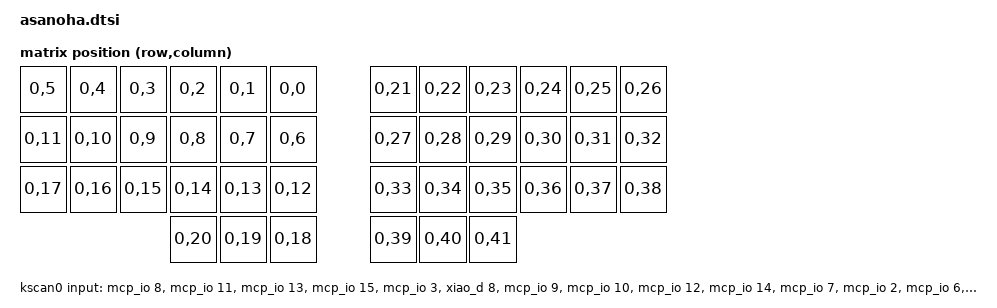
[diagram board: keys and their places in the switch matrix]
/*
 * Copyright (c) 2022 The ZMK Contributors
 *
 * SPDX-License-Identifier: MIT
 */

#include <dt-bindings/zmk/matrix_transform.h>
#include "asanoha-layout.dtsi"

/ {
    chosen {
        zmk,kscan = &kscan0;
//        zmk,matrix_transform = &default_transform;
        zmk,physical-layout = &physical_layout0;
        zephyr,console = &cdc_acm_uart;
    };

    matrix_transform0: keymap_transform_0 {
        compatible = "zmk,matrix-transform";
        columns = <42>;
        rows = <1>;
        map = <
            RC(0,5)  RC(0,4)  RC(0,3)  RC(0,2)  RC(0,1)  RC(0,0)     RC(0,21) RC(0,22) RC(0,23) RC(0,24) RC(0,25) RC(0,26)
            RC(0,11) RC(0,10) RC(0,9)  RC(0,8)  RC(0,7)  RC(0,6)     RC(0,27) RC(0,28) RC(0,29) RC(0,30) RC(0,31) RC(0,32)
            RC(0,17) RC(0,16) RC(0,15) RC(0,14) RC(0,13) RC(0,12)    RC(0,33) RC(0,34) RC(0,35) RC(0,36) RC(0,37) RC(0,38)
                                       RC(0,20) RC(0,19) RC(0,18)    RC(0,39) RC(0,40) RC(0,41)
        >;
    };

    kscan0: kscan_0 {
        compatible = "zmk,kscan-gpio-direct";
        wakeup-source;
        input-gpios =
              <&mcp_io  8 (GPIO_ACTIVE_LOW | GPIO_PULL_UP)>
            , <&mcp_io 11 (GPIO_ACTIVE_LOW | GPIO_PULL_UP)>
            , <&mcp_io 13 (GPIO_ACTIVE_LOW | GPIO_PULL_UP)>
            , <&mcp_io 15 (GPIO_ACTIVE_LOW | GPIO_PULL_UP)>
            , <&mcp_io  3 (GPIO_ACTIVE_LOW | GPIO_PULL_UP)>
            , <&xiao_d  8 (GPIO_ACTIVE_LOW | GPIO_PULL_UP)>

            , <&mcp_io  9 (GPIO_ACTIVE_LOW | GPIO_PULL_UP)>
            , <&mcp_io 10 (GPIO_ACTIVE_LOW | GPIO_PULL_UP)>
            , <&mcp_io 12 (GPIO_ACTIVE_LOW | GPIO_PULL_UP)>
            , <&mcp_io 14 (GPIO_ACTIVE_LOW | GPIO_PULL_UP)>
            , <&mcp_io  7 (GPIO_ACTIVE_LOW | GPIO_PULL_UP)>
            , <&mcp_io  2 (GPIO_ACTIVE_LOW | GPIO_PULL_UP)>

            , <&mcp_io  6 (GPIO_ACTIVE_LOW | GPIO_PULL_UP)>
            , <&mcp_io  4 (GPIO_ACTIVE_LOW | GPIO_PULL_UP)>
            , <&mcp_io  5 (GPIO_ACTIVE_LOW | GPIO_PULL_UP)>
            , <&mcp_io  0 (GPIO_ACTIVE_LOW | GPIO_PULL_UP)>
            , <&mcp_io  1 (GPIO_ACTIVE_LOW | GPIO_PULL_UP)>
            , <&xiao_d  7 (GPIO_ACTIVE_LOW | GPIO_PULL_UP)>

            , <&xiao_d  6 (GPIO_ACTIVE_LOW | GPIO_PULL_UP)>
            , <&xiao_d  3 (GPIO_ACTIVE_LOW | GPIO_PULL_UP)>
            , <&xiao_d  2 (GPIO_ACTIVE_LOW | GPIO_PULL_UP)>

//            , <&xiao_d  0 (GPIO_ACTIVE_LOW | GPIO_PULL_UP)>
//            , <&xiao_d  1 (GPIO_ACTIVE_LOW | GPIO_PULL_UP)>
//            , <&xiao_d  9 (GPIO_ACTIVE_LOW | GPIO_PULL_UP)>
        ;
    };

};

&xiao_spi { status = "disabled"; };
&xiao_serial { status = "disabled"; };

&xiao_i2c {
	status = "okay";
	clock-frequency = <I2C_BITRATE_FAST>;

    mcp_io: mcp23017@20 {
        compatible = "microchip,mcp23017";
        status = "okay";
        gpio-controller;
        int-gpios = <&xiao_d 10 (GPIO_ACTIVE_LOW)>;
        reg = <0x20>;
        #gpio-cells = <2>;
        ngpios = <16>;
    };
};

&usbd {
  status = "okay";
  cdc_acm_uart: cdc_acm_uart {
    compatible = "zephyr,cdc-acm-uart";
  };
};
